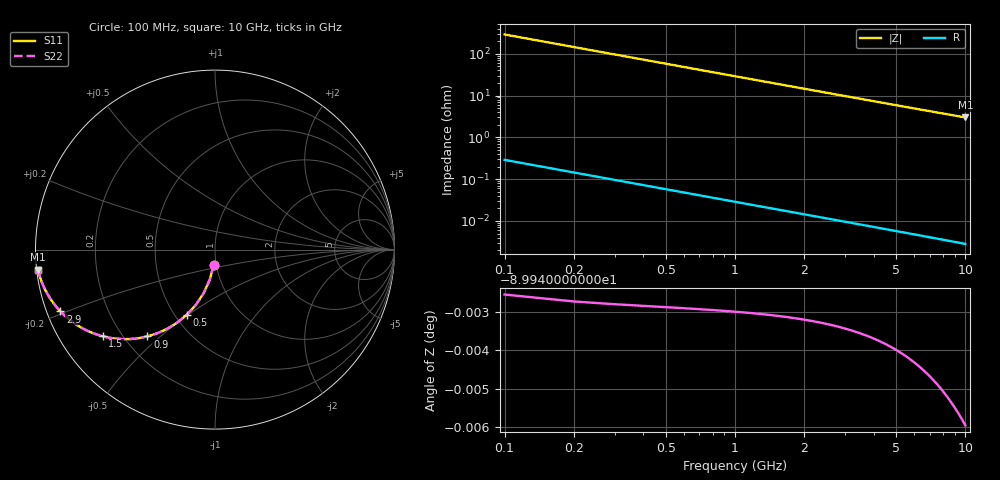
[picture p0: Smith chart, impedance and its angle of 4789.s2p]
# Hz S RI R 50.00
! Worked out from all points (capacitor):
!   100 points, 100 MHz to 10 GHz, reference 50 ohm
!   read as one part in shunt: C = 5.51 pF near 100 MHz
!   lowest |Z| = 3 ohm at 10 GHz (marker M1)
!   S11 on the Smith chart (normalised r, x): 100 MHz: 0.97, -0.17; 500 MHz: 0.57, -0.49; 900 MHz: 0.29, -0.45; 1.5 GHz: 0.13, -0.34; 2.9 GHz: 0.04, -0.19; 10 GHz: 0.00, -0.06
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1e8  -0.00753 -0.0859  0.9925 -0.086  0.9925 -0.086  -0.00753 -0.0859
2e8  -0.0293 -0.168  0.9707 -0.1682  0.9707 -0.1682  -0.0293 -0.168
3e8  -0.0634 -0.2431  0.9366 -0.2433  0.9366 -0.2433  -0.0634 -0.2431
4e8  -0.1073 -0.3088  0.8927 -0.3091  0.8927 -0.3091  -0.1073 -0.3088
5e8  -0.1579 -0.364  0.8421 -0.3644  0.8421 -0.3644  -0.1579 -0.364
6e8  -0.2125 -0.4084  0.7875 -0.4088  0.7875 -0.4088  -0.2125 -0.4084
7e8  -0.2684 -0.4424  0.7316 -0.4429  0.7316 -0.4429  -0.2684 -0.4424
9e8  -0.3771 -0.4838  0.6229 -0.4845  0.6229 -0.4845  -0.3771 -0.4838
1e9  -0.4275 -0.4939  0.5725 -0.4946  0.5725 -0.4946  -0.4275 -0.4939
1.2e9  -0.5177 -0.4988  0.4823 -0.4996  0.4823 -0.4996  -0.5177 -0.4988
1.5e9  -0.6259 -0.4829  0.3741 -0.4839  0.3741 -0.4839  -0.6259 -0.4829
1.8e9  -0.7062 -0.4544  0.2938 -0.4556  0.2938 -0.4556  -0.7062 -0.4544
2e9  -0.7477 -0.4331  0.2523 -0.4345  0.2523 -0.4345  -0.7477 -0.4331
2.3e9  -0.7964 -0.4014  0.2036 -0.403  0.2036 -0.403  -0.7964 -0.4014
2.6e9  -0.833 -0.3715  0.167 -0.3734  0.167 -0.3734  -0.833 -0.3715
2.9e9  -0.8611 -0.3444  0.1389 -0.3464  0.1389 -0.3464  -0.8611 -0.3444
3.4e9  -0.8947 -0.3052  0.1053 -0.3076  0.1053 -0.3076  -0.8947 -0.3052
4.2e9  -0.9282 -0.2561  0.0718 -0.2591  0.0718 -0.2591  -0.9282 -0.2561
5.1e9  -0.9501 -0.2154  0.0499 -0.2191  0.0499 -0.2191  -0.9501 -0.2154
6.7e9  -0.9704 -0.1665  0.0296 -0.1713  0.0296 -0.1713  -0.9704 -0.1665
8.4e9  -0.981 -0.133  0.019 -0.139  0.019 -0.139  -0.981 -0.133
1e10  -0.9865 -0.111  0.0134 -0.1183  0.0134 -0.1183  -0.9865 -0.111
